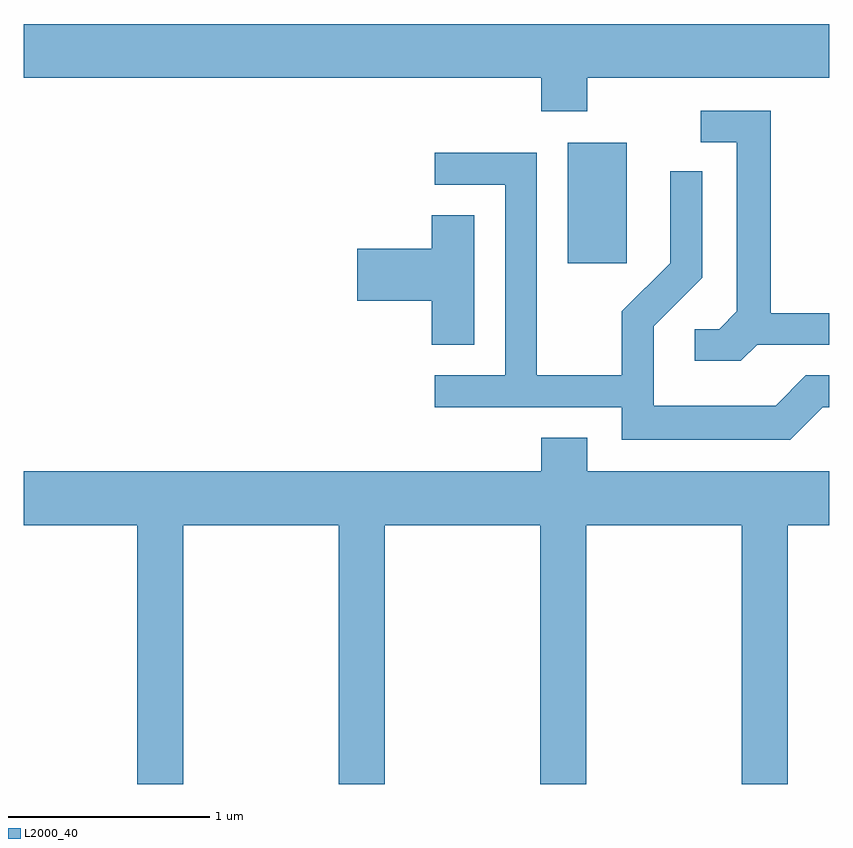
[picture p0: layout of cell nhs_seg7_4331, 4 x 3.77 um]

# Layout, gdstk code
import gdstk
lib = gdstk.Library(unit=1e-6, precision=1e-09)
def R(c, l, rs):  # rectangles x0, y0, x1, y1
    for r in rs: c.add(gdstk.rectangle(r[:2], r[2:], *l))
def P(c, l, *ps):  # polygons
    for p in ps: c.add(gdstk.Polygon(p, *l))
L2000_40 = (2000, 40)

nhs_seg7_4331 = lib.new_cell('nhs_seg7_4331')
R(nhs_seg7_4331, L2000_40, [(320.311,1768.896,320.604,1769.494)])
P(nhs_seg7_4331, L2000_40, [(320.409,1769.816),(321.611,1769.816),(321.611,1770.084),(317.611,1770.084),(317.611,1769.816),(320.181,1769.816),(320.181,1769.651),(320.409,1769.651)],
  [(321.252,1768.491),(321.611,1768.491),(321.611,1768.649),(321.319,1768.649),(321.319,1769.654),(320.973,1769.654),(320.973,1769.496),(321.151,1769.496),(321.151,1768.657),(321.064,1768.569),(320.943,1768.569),(320.943,1768.411),(321.172,1768.411)],
  [(321.577,1768.181),(321.611,1768.181),(321.611,1768.339),(321.494,1768.339),(321.344,1768.189),(320.739,1768.189),(320.739,1768.584),(320.979,1768.824),(320.979,1769.353),(320.821,1769.353),(320.821,1768.897),(320.581,1768.657),(320.581,1768.339),(320.159,1768.339),(320.159,1769.444),(319.653,1769.444),(319.653,1769.286),(320.001,1769.286),(320.001,1768.339),(319.653,1768.339),(319.653,1768.181),(320.581,1768.181),(320.581,1768.021),(321.417,1768.021)],
  [(319.849,1769.134),(319.636,1769.134),(319.636,1768.969),(319.266,1768.969),(319.266,1768.711),(319.636,1768.711),(319.636,1768.491),(319.849,1768.491)],
  [(318.404,1767.596),(319.176,1767.596),(319.176,1766.311),(319.404,1766.311),(319.404,1767.596),(320.176,1767.596),(320.176,1766.311),(320.404,1766.311),(320.404,1767.596),(321.176,1767.596),(321.176,1766.311),(321.404,1766.311),(321.404,1767.596),(321.611,1767.596),(321.611,1767.864),(320.409,1767.864),(320.409,1768.029),(320.181,1768.029),(320.181,1767.864),(317.611,1767.864),(317.611,1767.596),(318.176,1767.596),(318.176,1766.311),(318.404,1766.311)])

lib.write_gds('nhs_seg7_4331.gds')
